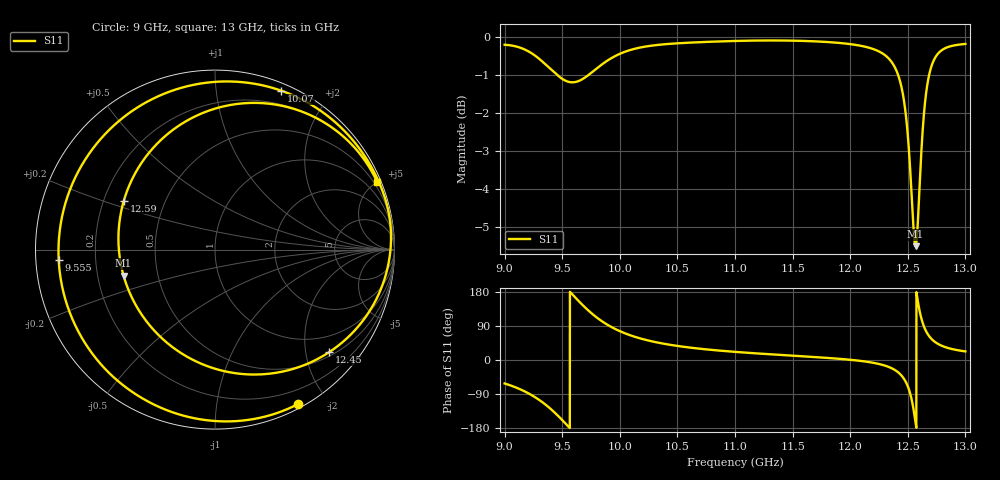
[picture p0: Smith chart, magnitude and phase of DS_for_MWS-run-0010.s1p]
! TOUCHSTONE file generated by CST DESIGN STUDIO
! Date and time: Tue Feb  4 16:25:49 2025
! Project name: C:\Work\MatlabApps\UnitCellOptimizationMatlab\CST\unitcell.cst
! Tree item: Tasks\Sweep1\SPara1\S-Parameters
! Header version: 2024
! Port assignment regex: !\s*Touchstone port\s*([0-9]+)\s*=\s*(CST MWS port|CST DES external port|CST DES block port)\s*(.+)\s* \(\"(.*)\"\)(\s*mode\s*([0-9]+))?.*
! Touchstone port assignment:
! Touchstone port 1 = CST DES external port 1 ("")
# GHz S MA R 50
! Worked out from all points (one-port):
!   4001 points, 9 GHz to 13 GHz, reference 50 ohm
!   lowest |S11| = -5.5 dB at 12.57 GHz (marker M1), VSWR 3.25, Z = 15.6 - j6.28 ohm
!   |S11| at or under -10 dB: nowhere
!   S11 on the Smith chart (normalised r, x): 9 GHz: 0.04, -1.67; 9.555 GHz: 0.07, -0.03; 10.07 GHz: 0.07, +1.50; 12.45 GHz: 0.59, -2.49; 12.59 GHz: 0.28, +0.23; 13 GHz: 0.27, +4.97
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9  0.9768 -61.9
9.144  0.9671 -78.5
9.294  0.9376 -104.0
9.397  0.9083 -128.3
9.5  0.8807 -158.4
9.555  0.8728 -176.1
9.648  0.8756 153.9
9.767  0.9007 120.1
9.87  0.926 97.3
10  0.9503 76.1
10.072  0.9594 67.3
10.259  0.9734 50.6
10.5  0.9811 37.1
11  0.9881 21.5
11.5  0.9891 11.4
12  0.9787 0.6
12.317  0.9423 -16.4
12.448  0.8549 -42.0
12.5  0.7423 -69.4
12.535  0.6117 -106.4
12.567  0.5297 -164.2
12.589  0.5765 151.8
12.615  0.6937 112.9
12.641  0.7945 87.8
12.683  0.8881 63.9
12.731  0.9353 48.8
12.83  0.9675 33.5
13  0.9793 22.7
